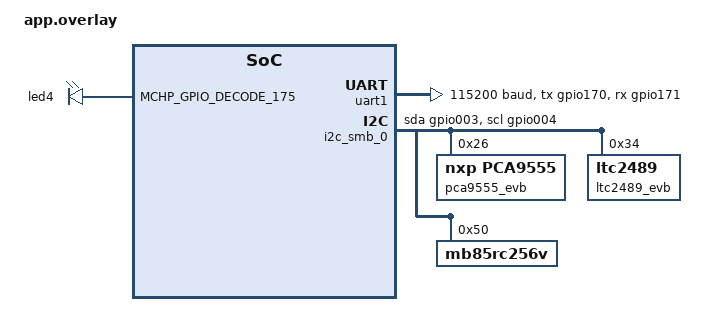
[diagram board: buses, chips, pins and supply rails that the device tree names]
/*
 * Copyright (c) 2024 Microchip Technology Inc.
 *
 * SPDX-License-Identifier: Apache-2.0
 */

#include <zephyr/dt-bindings/gpio/gpio.h>
#include <zephyr/dt-bindings/gpio/microchip-xec-gpio.h>

/*
 * MEC5_ASSY6941
 * JP7 2-3 GPIO055 pulled-down via 10K to ground.
 * JP23 14-15 selects GPIO055 as SHD_nCS0
 * JP42 1-2 connects 1.8V
 * JP60 2-3 VTR2 is powered by 1.8V
 * NOTE: VTR3 is always 1.8V
 *
 * Boot-ROM GPIO055 as RSMRST#
 * GPIO Control register value = 0x0200
 * Output, push-pull, driver low, no internal pulls,
 * interrupt detection = level low, alternate out enabled.
 * ROM drives pin high(inactive) using alternate out (bit[16] of control register)
 * Control register = 0x10200
 *
 * GPIO175/CMP_VOUT1/PWM8_ALT on schematic, LED4 on silkscreen.
 *
 * I2C00_SDA/SCL = GPIO003/004
 * Install Jumper JP14 4-5 to route GPIO004 as I2C00_SCL
 * Install Jumper JP14 7-8 to route GPIO003 as I2C00_SDA
 * Install Jumper JP68 21-22 7.5K pull-up to VTR1 for I2C00_SCL
 * Install Jumper JP68 23-24 7.5K pull-up to VTR1 for I2C00_SDA
 *
 * U4 is PCA9555 I2C GPIO expander
 * JP49 1-2 use +3.3V_STBY
 * JP58 1-2, 3-4 connect I2C00_SCL and I2C00_SDA to EXTERNAL_SCLK/SDATA
 * JP53 selects I2C address
 * 1-2 = A0, 3-4 = A1, 5-6 = A2 all pull-up by default. Install jumper to ground signals.
 * Installed jumper on JP53 1-2. I2C Address = 0x26
 *
 * U19 is LTC2489 I2C 4-channel delta-sigma ADC
 * Address select pins CA0, CA1 both pulled high. Install jumpers to ground signals.
 * Installed jumpers on JP124 1-2 and 3-4. I2C Address = 0x34
 *
 * Attached Fujitsu MB85RC256V I2C FRAM demo board to 6-pin header J10
 * AdaFruit I2C FRAM breakout board.
 * NOTE: removed demo board 1K pulls on SCL and SDA. Using EVB pulls on SCL/SDA.
 * This device allows testing of larger I2C messages and breaking up large transactions
 * into multiple message buffers.
 * FRAM board power -> J10-5 VTR1 (3.3V)
 * FRAM board GND   -> J10-6 GND
 * FRAM board SCL   -> J10-1 I2C00_SCL
 * FRAM board SDA   -> J10-3 I2C00_SDA
 * FRAM address pins A0, A1, A2 are internally pulled-down.
 * I2C Address = 1010_A2_A1_A0 = 0x50 (default)
 */

/ {
	chosen {
		zephyr,console = &uart1;
	};

	aliases {
		spi0 = &qspi0;
		led0 = &led4;
		i2c0 = &i2c_smb_0;
		i2c-0 = &i2c_smb_0;
	};

	leds {
		compatible = "gpio-leds";
		led4: led_0 {
			gpios = <MCHP_GPIO_DECODE_175 GPIO_ACTIVE_HIGH>;
		};
	};
};

&i2c00_scl_gpio004 {
	drive-open-drain;
	output-enable;
	output-high;
	drive-strength = "4x";
};

&i2c00_sda_gpio003 {
	drive-open-drain;
	output-enable;
	output-high;
	drive-strength = "4x";
};

&uart1 {
	current-speed = <115200>;
	status = "okay";
	pinctrl-0 = <&uart1_tx_gpio170 &uart1_rx_gpio171>;
	pinctrl-names = "default";
};

&i2c_smb_0 {
	status = "okay";
	port_sel = < 0 >;
	sda-gpios = < MCHP_GPIO_DECODE_003 0 >;
	scl-gpios = < MCHP_GPIO_DECODE_004 0 >;
	pinctrl-0 = < &i2c00_sda_gpio003 &i2c00_scl_gpio004 >;
	pinctrl-names = "default";

	pca9555_evb: pca9555@26 {
		/* Zephyr will load NXP PCA9555 driver after MEC5 I2C because it calls MEC5 I2C during init */
		compatible = "nxp,pca9555";
		reg = <0x26>;
		gpio-controller;
		#gpio-cells = <2>;
	};

	ltc2489_evb: ltc2489@34 {
		/* No Zephyr driver exists */
		reg = <0x34>;
		#io-channels-cells = <1>;
	};

	/* External Fujitsu MB85RC256V 256KB (32K x 8) FRAM */
	mb85rc256v: mb85rc256v@50 {
		/* No Zephyr driver exists */
		reg = <0x50>;
	};
};
